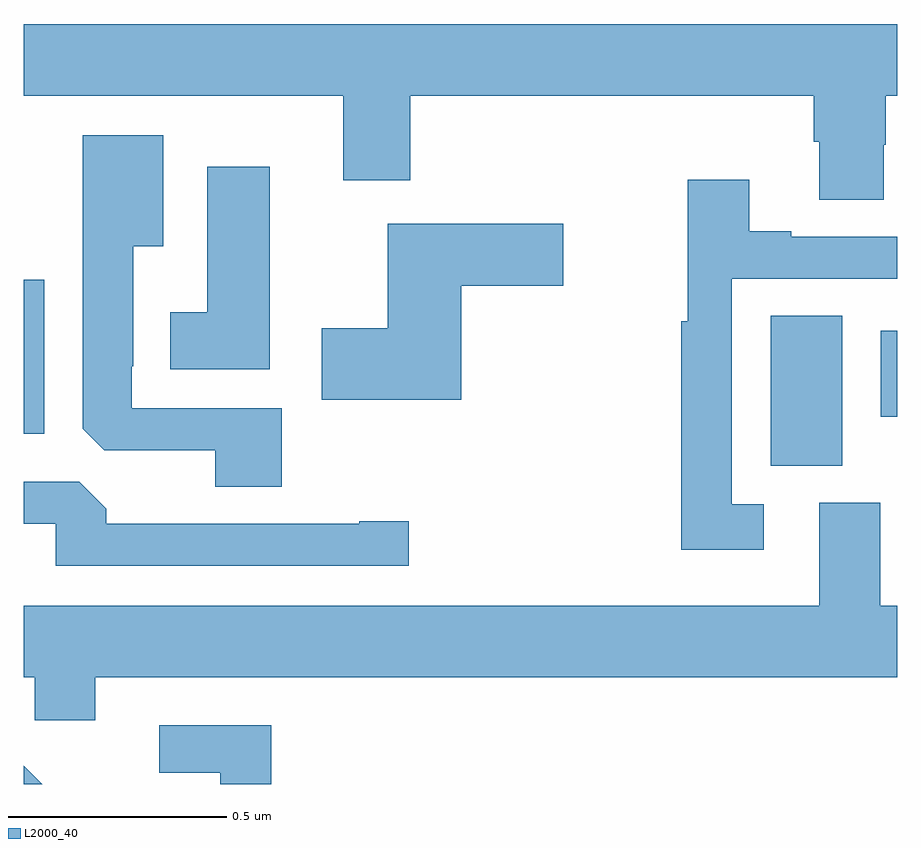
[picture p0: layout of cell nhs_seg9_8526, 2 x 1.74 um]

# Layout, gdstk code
import gdstk
lib = gdstk.Library(unit=1e-6, precision=1e-09)
def R(c, l, rs):  # rectangles x0, y0, x1, y1
    for r in rs: c.add(gdstk.rectangle(r[:2], r[2:], *l))
def P(c, l, *ps):  # polygons
    for p in ps: c.add(gdstk.Polygon(p, *l))
L2000_40 = (2000, 40)

nhs_seg9_8526 = lib.new_cell('nhs_seg9_8526')
R(nhs_seg9_8526, L2000_40, [(219.71,1206.229,219.874,1206.572), (218,1206.302,218.047,1206.655), (219.962,1206.341,220,1206.538)])
P(nhs_seg9_8526, L2000_40, [(219.969,1206.963),(219.974,1206.963),(219.974,1207.076),(220,1207.076),(220,1207.24),(218,1207.24),(218,1207.076),(218.732,1207.076),(218.732,1206.882),(218.885,1206.882),(218.885,1207.076),(219.809,1207.076),(219.809,1206.97),(219.821,1206.97),(219.821,1206.838),(219.969,1206.838)],
  [(218.591,1206.36),(218.247,1206.36),(218.247,1206.457),(218.251,1206.457),(218.251,1206.731),(218.32,1206.731),(218.32,1206.985),(218.135,1206.985),(218.135,1206.313),(218.184,1206.264),(218.438,1206.264),(218.438,1206.181),(218.591,1206.181)],
  [(218.563,1206.913),(218.42,1206.913),(218.42,1206.58),(218.336,1206.58),(218.336,1206.449),(218.563,1206.449)],
  [(219.694,1206.141),(219.621,1206.141),(219.621,1206.657),(220,1206.657),(220,1206.753),(219.757,1206.753),(219.757,1206.766),(219.661,1206.766),(219.661,1206.883),(219.52,1206.883),(219.52,1206.56),(219.505,1206.56),(219.505,1206.036),(219.694,1206.036)],
  [(219.002,1206.641),(219.235,1206.641),(219.235,1206.783),(218.834,1206.783),(218.834,1206.543),(218.682,1206.543),(218.682,1206.38),(219.002,1206.38)],
  [(218.881,1206.101),(218.768,1206.101),(218.768,1206.096),(218.189,1206.096),(218.189,1206.13),(218.127,1206.192),(218,1206.192),(218,1206.096),(218.073,1206.096),(218.073,1206),(218.881,1206)],
  [(218.164,1205.744),(220,1205.744),(220,1205.908),(219.961,1205.908),(219.961,1206.144),(219.821,1206.144),(219.821,1205.908),(218,1205.908),(218,1205.744),(218.025,1205.744),(218.025,1205.646),(218.164,1205.646)],
  [(218.567,1205.634),(218.31,1205.634),(218.31,1205.526),(218.45,1205.526),(218.45,1205.5),(218.567,1205.5)],
  [(218,1205.542),(218,1205.5),(218.042,1205.5)])

lib.write_gds('nhs_seg9_8526.gds')
